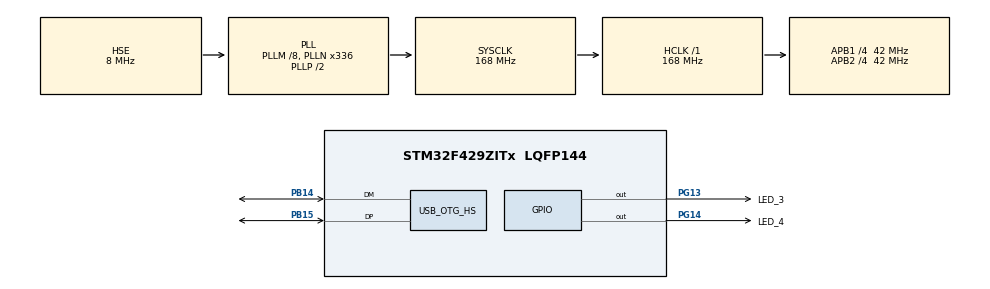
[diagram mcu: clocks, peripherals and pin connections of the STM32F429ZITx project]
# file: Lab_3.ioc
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Mcu.Family=STM32F4
Mcu.Name=STM32F429ZITx
Mcu.Package=LQFP144
NVIC.OTG_HS_IRQn=true\:0\:0\:false\:false\:true\:false\:true\:true
NVIC.PriorityGroup=NVIC_PRIORITYGROUP_4
PA13.Mode=Serial_Wire
PA13.Signal=SYS_JTMS-SWDIO
PA14.Mode=Serial_Wire
PA14.Signal=SYS_JTCK-SWCLK
PB14.Mode=Device_Only_FS
PB14.Signal=USB_OTG_HS_DM
PB15.Mode=Device_Only_FS
PB15.Signal=USB_OTG_HS_DP
PG13.GPIO_Label=LED_3
PG13.Signal=GPIO_Output
PG14.GPIO_Label=LED_4
PG14.Signal=GPIO_Output
PH0/OSC_IN.Mode=HSE-External-Oscillator
PH0/OSC_IN.Signal=RCC_OSC_IN
PH1/OSC_OUT.Mode=HSE-External-Oscillator
PH1/OSC_OUT.Signal=RCC_OSC_OUT
ProjectManager.HeapSize=0x200
ProjectManager.StackSize=0x400
ProjectManager.TargetToolchain=STM32CubeIDE
RCC.48MHZClocksFreq_Value=48000000
RCC.AHBFreq_Value=168000000
RCC.APB1CLKDivider=RCC_HCLK_DIV4
RCC.APB1Freq_Value=42000000
RCC.APB1TimFreq_Value=84000000
RCC.APB2CLKDivider=RCC_HCLK_DIV4
RCC.APB2Freq_Value=42000000
RCC.APB2TimFreq_Value=84000000
RCC.CortexFreq_Value=168000000
RCC.HCLKFreq_Value=168000000
RCC.HSE_VALUE=8000000
RCC.HSI_VALUE=16000000
RCC.LSE_VALUE=32768
RCC.PLLM=8
RCC.PLLN=336
RCC.PLLQ=7
RCC.SYSCLKFreq_VALUE=168000000
RCC.SYSCLKSource=RCC_SYSCLKSOURCE_PLLCLK
RCC.VCOOutputFreq_Value=336000000
USB_DEVICE.CLASS_NAME_HS=CDC
USB_DEVICE.VirtualMode-CDC_HS=Cdc
USB_DEVICE.VirtualModeHS=Cdc_HS
USB_OTG_HS.VirtualMode-Device_Only_FS=Device_Only_FS
VP_USB_DEVICE_VS_USB_DEVICE_CDC_HS.Mode=CDC_HS
board=custom

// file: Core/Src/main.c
/* USER CODE BEGIN Header */
/**
  ******************************************************************************
  * @file           : main.c
  * @brief          : Main program body
  ******************************************************************************
  * @attention
  *
  * Copyright (c) 2024 STMicroelectronics.
  * All rights reserved.
  *
  * This software is licensed under terms that can be found in the LICENSE file
  * in the root directory of this software component.
  * If no LICENSE file comes with this software, it is provided AS-IS.
  *
  ******************************************************************************
  */
/* USER CODE END Header */
#include "main.h"
#include "usb_device.h"

/* USER CODE BEGIN Includes */
#include "usbd_cdc_if.h"
/* USER CODE END Includes */

/* USER CODE BEGIN PV */
char data[15];
/* USER CODE END PV */

void SystemClock_Config(void);
static void MX_GPIO_Init(void);

int main(void)
{

  /* MCU Configuration--------------------------------------------------------*/

  /* Reset of all peripherals, Initializes the Flash interface and the Systick. */
  HAL_Init();

  /* Configure the system clock */
  SystemClock_Config();

  /* Initialize all configured peripherals */
  MX_GPIO_Init();
  MX_USB_DEVICE_Init();
  /* USER CODE BEGIN 2 */
  BSP_LCD_Init();
  BSP_LCD_LayerDefaultInit(1, SDRAM_DEVICE_ADDR);
  BSP_LCD_SelectLayer(1);
  BSP_LCD_DisplayOn();
  BSP_LCD_Clear(LCD_COLOR_BLUE);
  BSP_LCD_SetBackColor(LCD_COLOR_BLUE);
  BSP_LCD_SetTextColor(LCD_COLOR_WHITE);
  char text[15];
  sprintf(text, "Good evening, ");
  BSP_LCD_DisplayStringAtLine(1, (uint8_t*)text);
  sprintf(text, "it's too dark");
  BSP_LCD_DisplayStringAtLine(2, (uint8_t*)text);
  sprintf(text, "here");
    BSP_LCD_DisplayStringAtLine(3, (uint8_t*)text);
  /* USER CODE END 2 */

  /* Infinite loop */
  /* USER CODE BEGIN WHILE */
  while (1)
  {
	 if(strcmp(data, "Hello STM") == 0)
	 {
		 BSP_LCD_Clear(LCD_COLOR_BLUE);
		 sprintf(text, "Do you want to");
		 BSP_LCD_DisplayStringAtLine(1, (uint8_t*)text);
		 sprintf(text, "turn on light");
		   BSP_LCD_DisplayStringAtLine(2, (uint8_t*)text);
		 while(1)
		 {
			 if (strcmp(data, "Turn on LED 3") == 0) {
			     HAL_GPIO_WritePin(GPIOG, LED_3_Pin, 1);
			 } else if (strcmp(data, "Turn on LED 4") == 0) {
			     HAL_GPIO_WritePin(GPIOG, LED_4_Pin, 1);
			 } else if (strcmp(data, "Turn off LED 3") == 0) {
			     HAL_GPIO_WritePin(GPIOG, LED_3_Pin, 0);
			 } else if (strcmp(data, "Turn off LED 4") == 0) {
			     HAL_GPIO_WritePin(GPIOG, LED_4_Pin, 0);
			 } else if (strcmp(data, "Good night") == 0) {
			     HAL_GPIO_WritePin(GPIOG, LED_3_Pin, 0);
			     HAL_GPIO_WritePin(GPIOG, LED_4_Pin, 0);
			 }
		 }
	 }
    /* USER CODE END WHILE */

  }
}

void SystemClock_Config(void)
{
  RCC_OscInitTypeDef RCC_OscInitStruct = {0};
  RCC_ClkInitTypeDef RCC_ClkInitStruct = {0};

  /** Configure the main internal regulator output voltage
  */
  __HAL_RCC_PWR_CLK_ENABLE();
  __HAL_PWR_VOLTAGESCALING_CONFIG(PWR_REGULATOR_VOLTAGE_SCALE1);

  /** Initializes the RCC Oscillators according to the specified parameters
  * in the RCC_OscInitTypeDef structure.
  */
  RCC_OscInitStruct.OscillatorType = RCC_OSCILLATORTYPE_HSE;
  RCC_OscInitStruct.HSEState = RCC_HSE_ON;
  RCC_OscInitStruct.PLL.PLLState = RCC_PLL_ON;
  RCC_OscInitStruct.PLL.PLLSource = RCC_PLLSOURCE_HSE;
  RCC_OscInitStruct.PLL.PLLM = 8;
  RCC_OscInitStruct.PLL.PLLN = 336;
  RCC_OscInitStruct.PLL.PLLP = RCC_PLLP_DIV2;
  RCC_OscInitStruct.PLL.PLLQ = 7;
  if (HAL_RCC_OscConfig(&RCC_OscInitStruct) != HAL_OK)
  {
    Error_Handler();
  }

  /** Initializes the CPU, AHB and APB buses clocks
  */
  RCC_ClkInitStruct.ClockType = RCC_CLOCKTYPE_HCLK|RCC_CLOCKTYPE_SYSCLK
                              |RCC_CLOCKTYPE_PCLK1|RCC_CLOCKTYPE_PCLK2;
  RCC_ClkInitStruct.SYSCLKSource = RCC_SYSCLKSOURCE_PLLCLK;
  RCC_ClkInitStruct.AHBCLKDivider = RCC_SYSCLK_DIV1;
  RCC_ClkInitStruct.APB1CLKDivider = RCC_HCLK_DIV4;
  RCC_ClkInitStruct.APB2CLKDivider = RCC_HCLK_DIV4;

  if (HAL_RCC_ClockConfig(&RCC_ClkInitStruct, FLASH_LATENCY_5) != HAL_OK)
  {
    Error_Handler();
  }
}

static void MX_GPIO_Init(void)
{
  GPIO_InitTypeDef GPIO_InitStruct = {0};

  /* GPIO Ports Clock Enable */
  __HAL_RCC_GPIOH_CLK_ENABLE();
  __HAL_RCC_GPIOB_CLK_ENABLE();
  __HAL_RCC_GPIOA_CLK_ENABLE();
  __HAL_RCC_GPIOG_CLK_ENABLE();

  /*Configure GPIO pin Output Level */
  HAL_GPIO_WritePin(GPIOG, LED_3_Pin|LED_4_Pin, GPIO_PIN_RESET);

  /*Configure GPIO pins : LED_3_Pin LED_4_Pin */
  GPIO_InitStruct.Pin = LED_3_Pin|LED_4_Pin;
  GPIO_InitStruct.Mode = GPIO_MODE_OUTPUT_PP;
  GPIO_InitStruct.Pull = GPIO_NOPULL;
  GPIO_InitStruct.Speed = GPIO_SPEED_FREQ_LOW;
  HAL_GPIO_Init(GPIOG, &GPIO_InitStruct);

}

void Error_Handler(void)
{
  __disable_irq();
  while (1)
  {
  }
}
